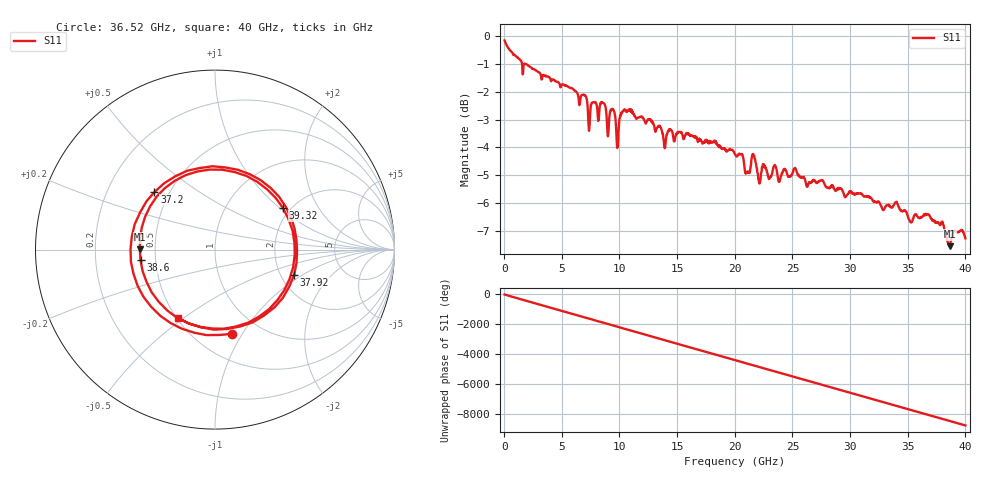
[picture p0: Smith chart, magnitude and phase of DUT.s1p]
# Hz S RI R 50
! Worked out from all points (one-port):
!   1000 points, 40 MHz to 40 GHz, reference 50 ohm
!   lowest |S11| = -7.6 dB at 38.64 GHz (marker M1), VSWR 2.44, Z = 20.5 + j0.0385 ohm
!   |S11| at or under -10 dB: nowhere
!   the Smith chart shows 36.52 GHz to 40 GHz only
!   S11 on the Smith chart (normalised r, x): 36.52 GHz: 0.74, -0.90; 37.2 GHz: 0.41, +0.34; 37.92 GHz: 2.37, -0.84; 38.6 GHz: 0.41, -0.06; 39.32 GHz: 1.83, +1.05; 40 GHz: 0.51, -0.48
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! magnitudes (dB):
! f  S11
! 40 MHz  -0.1
! 1.64 GHz  -1.3
! 5.04 GHz  -1.7
! 6.96 GHz  -2.1
! 7.4 GHz  -3.3
! 8.56 GHz  -2.4
! 8.96 GHz  -3.5
! 9.4 GHz  -2.6
! 9.76 GHz  -3.8
! 10.04 GHz  -2.9
! 10.88 GHz  -2.7
! 13.92 GHz  -4.0
! 15.04 GHz  -3.5
! 20.04 GHz  -4.2
! 21.08 GHz  -4.9
! 21.64 GHz  -4.3
! 22.12 GHz  -5.3
! 22.56 GHz  -4.7
! 25.04 GHz  -4.9
! 30.04 GHz  -5.6
! 35.04 GHz  -6.5
! 36.52 GHz  -6.4
! 37.2 GHz  -6.6
! 37.92 GHz  -6.7
! 38.6 GHz  -7.6
! 38.64 GHz  -7.6
! 39.32 GHz  -7.0
! 40 GHz  -7.3
